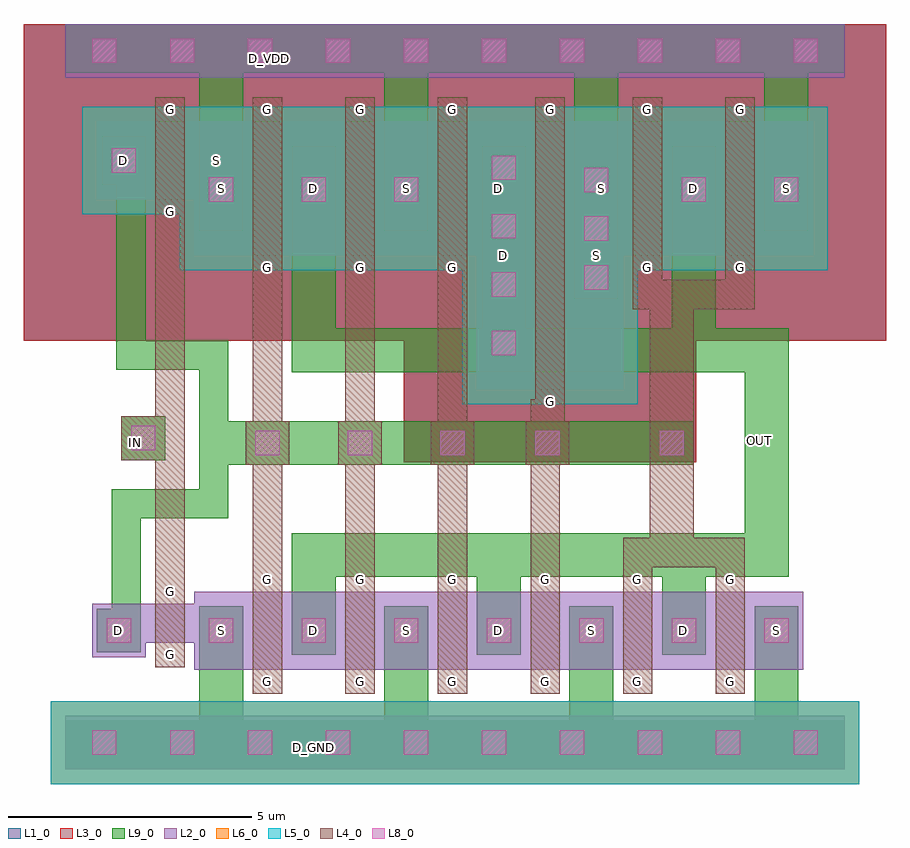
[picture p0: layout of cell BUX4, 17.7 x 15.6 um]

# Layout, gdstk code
import gdstk
lib = gdstk.Library(unit=1e-6, precision=1e-09)
def R(c, l, rs):  # rectangles x0, y0, x1, y1
    for r in rs: c.add(gdstk.rectangle(r[:2], r[2:], *l))
def A(c, l, x, y, w, h, nx, ny, dx, dy):  # array of equal rectangles
    R(c, l, [(x+i*dx, y+j*dy, x+i*dx+w, y+j*dy+h) for i in range(nx) for j in range(ny)])
def P(c, l, *ps):  # polygons
    for p in ps: c.add(gdstk.Polygon(p, *l))
L1_0 = (1, 0)
L2_0 = (2, 0)
L3_0 = (3, 0)
L4_0 = (4, 0)
L5_0 = (5, 0)
L6_0 = (6, 0)
L8_0 = (8, 0)
L9_0 = (9, 0)

bux4 = lib.new_cell('BUX4')
A(bux4, L1_0, 0, 8.8, 1.6, 6.5, 10, 1, 1.6, 0)
A(bux4, L1_0, 1.15, 9.05, 6, 5.75, 3, 1, 1.9, 0)
R(bux4, L1_0, [(6.95,6.3,12.95,14.8), (-0.85,8.8,16.85,15.3), (8.95,9.05,14.95,14.8), (10.85,9.05,16.85,14.8), (-0.85,10.2,5.15,14.8)])
A(bux4, L2_0, 0, 0, 1.6, 1.1, 10, 2, 1.6, 14.2)
A(bux4, L2_0, 3.75, 2.05, 0.8, 1.6, 6, 1, 1.9, 0)
A(bux4, L2_0, 3.75, 10.55, 0.8, 2.75, 3, 1, 1.9, 0)
R(bux4, L2_0, [(2.65,2.05,3.75,3.65), (4.55,2.05,5.65,3.65), (4.55,2.05,5.65,3.65), (6.45,2.05,7.55,3.65), (6.45,2.05,7.55,3.65), (8.35,2.05,9.45,3.65), (8.35,2.05,9.45,3.65), (10.25,2.05,11.35,3.65), (10.25,2.05,11.35,3.65), (12.15,2.05,13.25,3.65), (12.15,2.05,13.25,3.65), (14.05,2.05,15.15,3.65), (0.55,2.3,1.65,3.4), (2.65,2.3,3.75,3.4), (1.65,2.6,2.65,3.4), (8.45,7.8,9.55,13.3), (9.55,7.8,10.35,13.3), (10.35,7.8,11.45,13.3), (10.35,9.55,11.45,12.65), (2.65,10.55,3.75,13.3), (4.55,10.55,5.65,13.3), (4.55,10.55,5.65,13.3), (6.45,10.55,7.55,13.3), (6.45,10.55,7.55,13.3), (8.35,10.55,9.45,13.3), (10.45,10.55,11.55,13.3), (11.55,10.55,12.35,13.3), (12.35,10.55,13.45,13.3), (12.35,10.55,13.45,13.3), (13.45,10.55,14.25,13.3), (14.25,10.55,15.35,13.3), (8.45,10.6,9.55,11.7), (2.65,11.35,3.75,12.45), (0.65,11.7,1.75,13.3), (1.75,11.7,2.55,13.3), (2.55,11.7,3.65,13.3)])
A(bux4, L3_0, 0, 8.8, 1.6, 6.5, 10, 1, 1.6, 0)
A(bux4, L3_0, 1.15, 9.05, 6, 5.75, 3, 1, 1.9, 0)
R(bux4, L3_0, [(6.95,6.3,12.95,14.8), (-0.85,8.8,16.85,15.3), (8.95,9.05,14.95,14.8), (10.85,9.05,16.85,14.8), (-0.85,10.2,5.15,14.8)])
A(bux4, L4_0, 3.85, 1.55, 0.6, 2.6, 6, 1, 1.9, 0)
A(bux4, L4_0, 3.85, 1.55, 0.6, 0.5, 6, 2, 1.9, 2.1)
A(bux4, L4_0, 3.85, 4.15, 0.6, 5.9, 3, 1, 1.9, 0)
A(bux4, L4_0, 3.7, 6.25, 0.9, 0.9, 3, 1, 1.9, 0)
A(bux4, L4_0, 3.85, 10.05, 0.6, 0.5, 3, 2, 1.9, 3.25)
A(bux4, L4_0, 3.85, 10.05, 0.6, 3.75, 3, 1, 1.9, 0)
R(bux4, L4_0, [(1.85,2.1,2.45,2.6), (1.85,2.1,2.45,3.9), (1.85,3.4,2.45,3.9), (1.85,3.7,2.45,11.35), (11.45,4.15,13.95,4.75), (12,4.75,12.9,9.45), (9.45,6.25,10.35,7.15), (12,6.25,12.9,7.15), (1.15,6.35,2.05,7.25), (9.65,7.3,10.25,7.8), (9.65,7.3,10.25,13.8), (11.65,9.45,14.15,10.05), (11.65,10.05,12.25,10.55), (11.65,10.05,12.25,13.8), (13.55,10.05,14.15,10.55), (13.55,10.05,14.15,13.8), (1.85,11.2,2.45,13.8), (1.85,11.2,2.45,11.7), (1.85,13.3,2.45,13.8), (9.65,13.3,10.25,13.8), (11.65,13.3,12.25,13.8), (13.55,13.3,14.15,13.8)])
P(bux4, L4_0, [(9.55,4.15),(10.15,4.15),(10.15,6.3),(10.25,6.3),(10.25,7.6),(9.55,7.6)])
A(bux4, L5_0, 1.6, -0.3, 1.6, 1.7, 3, 1, 1.6, 0)
A(bux4, L5_0, 8, -0.3, 1.6, 1.7, 4, 1, 1.6, 0)
A(bux4, L5_0, 2.35, 10.25, 3.6, 3.35, 3, 1, 1.9, 0)
R(bux4, L5_0, [(-0.3,-0.3,1.6,1.4), (6.3,-0.3,8.2,1.4), (14.4,-0.3,16.3,1.4), (8.15,7.5,11.75,13.6), (10.15,10.25,13.75,13.6), (12.05,10.25,15.65,13.6), (0.35,11.4,3.95,13.6)])
A(bux4, L6_0, 1.6, -0.3, 1.6, 1.7, 3, 1, 1.6, 0)
A(bux4, L6_0, 8, -0.3, 1.6, 1.7, 4, 1, 1.6, 0)
A(bux4, L6_0, 2.35, 10.25, 3.6, 3.35, 3, 1, 1.9, 0)
R(bux4, L6_0, [(-0.3,-0.3,1.6,1.4), (6.3,-0.3,8.2,1.4), (14.4,-0.3,16.3,1.4), (8.15,7.5,11.75,13.6), (10.15,10.25,13.75,13.6), (12.05,10.25,15.65,13.6), (0.35,11.4,3.95,13.6)])
A(bux4, L8_0, 0.55, 0.3, 0.5, 0.5, 10, 2, 1.6, 14.2)
A(bux4, L8_0, 3.9, 6.45, 0.5, 0.5, 3, 1, 1.9, 0)
A(bux4, L8_0, 8.75, 8.5, 0.5, 0.5, 1, 3, 0, 1.2)
A(bux4, L8_0, 10.65, 9.85, 0.5, 0.5, 1, 3, 0, 1)
R(bux4, L8_0, [(0.85,2.6,1.35,3.1), (2.95,2.6,3.45,3.1), (2.95,2.6,3.45,3.1), (4.85,2.6,5.35,3.1), (4.85,2.6,5.35,3.1), (6.75,2.6,7.25,3.1), (6.75,2.6,7.25,3.1), (8.65,2.6,9.15,3.1), (8.65,2.6,9.15,3.1), (10.55,2.6,11.05,3.1), (10.55,2.6,11.05,3.1), (12.45,2.6,12.95,3.1), (12.45,2.6,12.95,3.1), (14.35,2.6,14.85,3.1), (9.65,6.45,10.15,6.95), (12.2,6.45,12.7,6.95), (1.35,6.55,1.85,7.05), (8.75,10.9,9.25,11.4), (2.95,11.65,3.45,12.15), (2.95,11.65,3.45,12.15), (4.85,11.65,5.35,12.15), (4.85,11.65,5.35,12.15), (6.75,11.65,7.25,12.15), (6.75,11.65,7.25,12.15), (12.65,11.65,13.15,12.15), (12.65,11.65,13.15,12.15), (14.55,11.65,15.05,12.15), (8.75,12.1,9.25,12.6), (0.95,12.25,1.45,12.75)])
A(bux4, L9_0, 0, 0, 1.6, 1, 10, 2, 1.6, 14.3)
A(bux4, L9_0, 3.7, 6.25, 0.9, 0.9, 3, 1, 1.9, 0)
R(bux4, L9_0, [(6.55,0.1,7.45,3.25), (5.1,0.3,5.7,0.9), (2.75,2.35,3.65,3.35), (4.65,2.35,5.55,3.35), (4.65,2.35,5.55,3.35), (6.55,2.35,7.45,3.35), (6.55,2.35,7.45,3.35), (8.45,2.35,9.35,3.35), (8.45,2.35,9.35,3.35), (10.35,2.35,11.25,3.35), (10.35,2.35,11.25,3.35), (12.25,2.35,13.15,3.35), (12.25,2.35,13.15,3.35), (14.15,2.35,15.05,3.35), (0.65,2.4,1.55,3.3), (2.75,2.4,3.65,3.3), (8.45,2.45,9.35,4.85), (12.25,3.35,13.15,3.95), (4.6,6.25,12,7.15), (9.45,6.25,10.35,7.15), (12,6.25,12.9,7.15), (1.15,6.35,2.05,7.25), (1.15,6.35,2.05,7.25), (13.95,6.35,14.85,7.25), (12.45,8.15,13.35,11.95), (8.55,8.3,9.45,12.8), (10.45,9.65,11.35,12.55), (8.55,10.7,9.45,11.6), (2.75,11.05,3.65,12.8), (4.65,11.05,5.55,12.8), (4.65,11.05,5.55,12.8), (6.55,11.05,7.45,12.8), (6.55,11.05,7.45,12.8), (12.45,11.05,13.35,12.8), (12.45,11.05,13.35,12.8), (14.35,11.05,15.25,12.8), (2.75,11.45,3.65,12.35), (6.55,11.9,7.45,15.2), (0.75,12,1.65,13), (4.15,14.4,4.75,15)])
P(bux4, L9_0, [(2.75,0.1),(4.1,0.1),(4.1,1),(3.65,1),(3.65,3.3),(2.75,3.3)],
  [(2.75,11.9),(3.65,11.9),(3.65,14.3),(4.1,14.3),(4.1,15.2),(2.75,15.2)],
  [(10.45,11.9),(11.35,11.9),(11.35,14.3),(12.1,14.3),(12.1,15.2),(10.45,15.2)],
  [(13.5,14.3),(14.35,14.3),(14.35,11.9),(15.25,11.9),(15.25,15.2),(13.5,15.2)],
  [(4.65,8.15),(9.45,8.15),(9.45,9.2),(8.55,9.2),(8.55,9.05),(5.55,9.05),(5.55,11.95),(4.65,11.95)],
  [(4.65,2.45),(5.55,2.45),(5.55,3.95),(13.15,3.95),(13.15,4.85),(4.65,4.85)],
  [(10.35,0.1),(12.1,0.1),(12.1,1),(11.25,1),(11.25,3.25),(10.35,3.25)],
  [(13.5,0.1),(15.05,0.1),(15.05,3.25),(14.15,3.25),(14.15,1),(13.5,1)],
  [(13.15,3.95),(14.85,3.95),(14.85,6.35),(13.95,6.35),(13.95,4.85),(13.15,4.85)],
  [(9.45,8.15),(13.95,8.15),(13.95,7.25),(14.85,7.25),(14.85,9.05),(9.45,9.05)],
  [(0.95,2.7),(1.55,2.7),(1.55,5.15),(3.35,5.15),(3.35,6.25),(4.3,6.25),(4.3,6.85),(2.75,6.85),(2.75,5.75),(0.95,5.75)],
  [(1.05,8.2),(2.75,8.2),(2.75,6.55),(4.3,6.55),(4.3,7.15),(3.35,7.15),(3.35,8.8),(1.65,8.8),(1.65,12.6),(1.05,12.6)])
bux4.add(gdstk.Label('G', (11.75,1.802), layer=4, texttype=0))
bux4.add(gdstk.Label('G', (11.75,3.902), layer=4, texttype=0))
bux4.add(gdstk.Label('S', (10.799,2.851), layer=9, texttype=0))
bux4.add(gdstk.Label('D', (12.699,2.851), layer=9, texttype=0))
bux4.add(gdstk.Label('G', (2.15,13.548), layer=4, texttype=0))
bux4.add(gdstk.Label('G', (2.15,11.448), layer=4, texttype=0))
bux4.add(gdstk.Label('S', (3.101,12.499), layer=2, texttype=0))
bux4.add(gdstk.Label('D', (1.201,12.499), layer=9, texttype=0))
bux4.add(gdstk.Label('G', (4.15,10.302), layer=4, texttype=0))
bux4.add(gdstk.Label('G', (4.15,13.552), layer=4, texttype=0))
bux4.add(gdstk.Label('S', (3.199,11.926), layer=9, texttype=0))
bux4.add(gdstk.Label('D', (5.099,11.926), layer=9, texttype=0))
bux4.add(gdstk.Label('G', (7.95,10.302), layer=4, texttype=0))
bux4.add(gdstk.Label('G', (7.95,13.552), layer=4, texttype=0))
bux4.add(gdstk.Label('S', (6.999,11.926), layer=9, texttype=0))
bux4.add(gdstk.Label('D', (8.899,11.926), layer=2, texttype=0))
bux4.add(gdstk.Label('G', (7.95,1.802), layer=4, texttype=0))
bux4.add(gdstk.Label('G', (7.95,3.902), layer=4, texttype=0))
bux4.add(gdstk.Label('S', (6.999,2.851), layer=9, texttype=0))
bux4.add(gdstk.Label('D', (8.899,2.851), layer=9, texttype=0))
bux4.add(gdstk.Label('G', (6.05,10.302), layer=4, texttype=0))
bux4.add(gdstk.Label('G', (6.05,13.552), layer=4, texttype=0))
bux4.add(gdstk.Label('S', (7.001,11.926), layer=9, texttype=0))
bux4.add(gdstk.Label('D', (5.101,11.926), layer=9, texttype=0))
bux4.add(gdstk.Label('G', (4.15,1.802), layer=4, texttype=0))
bux4.add(gdstk.Label('G', (4.15,3.902), layer=4, texttype=0))
bux4.add(gdstk.Label('S', (3.199,2.851), layer=9, texttype=0))
bux4.add(gdstk.Label('D', (5.099,2.851), layer=9, texttype=0))
bux4.add(gdstk.Label('G', (13.65,1.802), layer=4, texttype=0))
bux4.add(gdstk.Label('G', (13.65,3.902), layer=4, texttype=0))
bux4.add(gdstk.Label('S', (14.601,2.851), layer=9, texttype=0))
bux4.add(gdstk.Label('D', (12.701,2.851), layer=9, texttype=0))
bux4.add(gdstk.Label('G', (9.85,1.802), layer=4, texttype=0))
bux4.add(gdstk.Label('G', (9.85,3.902), layer=4, texttype=0))
bux4.add(gdstk.Label('S', (10.801,2.851), layer=9, texttype=0))
bux4.add(gdstk.Label('D', (8.901,2.851), layer=9, texttype=0))
bux4.add(gdstk.Label('G', (13.85,10.302), layer=4, texttype=0))
bux4.add(gdstk.Label('G', (13.85,13.552), layer=4, texttype=0))
bux4.add(gdstk.Label('S', (14.801,11.926), layer=9, texttype=0))
bux4.add(gdstk.Label('D', (12.901,11.926), layer=9, texttype=0))
bux4.add(gdstk.Label('G', (6.05,1.802), layer=4, texttype=0))
bux4.add(gdstk.Label('G', (6.05,3.902), layer=4, texttype=0))
bux4.add(gdstk.Label('S', (7.001,2.851), layer=9, texttype=0))
bux4.add(gdstk.Label('D', (5.101,2.851), layer=9, texttype=0))
bux4.add(gdstk.Label('G', (2.15,3.648), layer=4, texttype=0))
bux4.add(gdstk.Label('G', (2.15,2.348), layer=4, texttype=0))
bux4.add(gdstk.Label('S', (3.201,2.849), layer=9, texttype=0))
bux4.add(gdstk.Label('D', (1.101,2.849), layer=9, texttype=0))
bux4.add(gdstk.Label('G', (11.95,10.302), layer=4, texttype=0))
bux4.add(gdstk.Label('G', (11.95,13.552), layer=4, texttype=0))
bux4.add(gdstk.Label('S', (10.999,11.926), layer=2, texttype=0))
bux4.add(gdstk.Label('D', (12.899,11.926), layer=9, texttype=0))
bux4.add(gdstk.Label('G', (9.95,7.552), layer=4, texttype=0))
bux4.add(gdstk.Label('G', (9.95,13.552), layer=4, texttype=0))
bux4.add(gdstk.Label('S', (10.901,10.551), layer=2, texttype=0))
bux4.add(gdstk.Label('D', (9.001,10.551), layer=9, texttype=0))
bux4.add(gdstk.Label('OUT', (14.25,6.75), layer=50, texttype=0))
bux4.add(gdstk.Label('D_GND', (5.1,0.45), layer=50, texttype=0))
bux4.add(gdstk.Label('D_VDD', (4.2,14.6), layer=50, texttype=0))
bux4.add(gdstk.Label('IN', (1.45,6.7), layer=50, texttype=0))

lib.write_gds('BUX4.gds')
